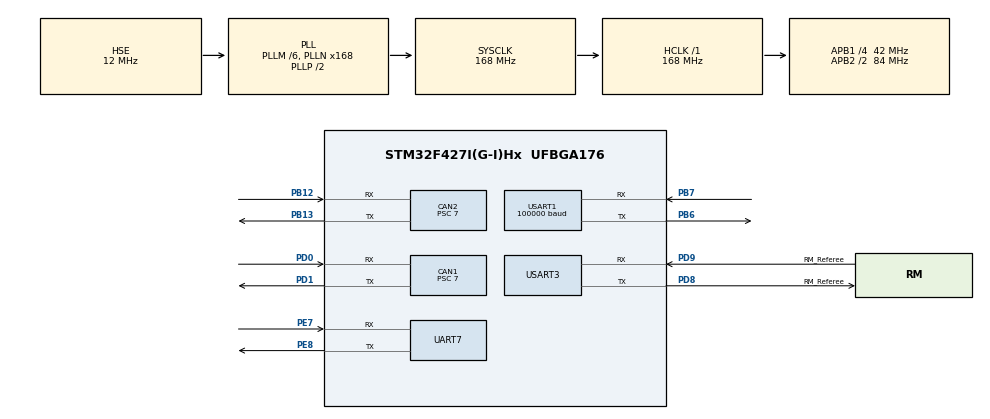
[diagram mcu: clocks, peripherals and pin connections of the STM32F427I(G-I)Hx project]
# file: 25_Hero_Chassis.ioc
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CAN1.ABOM=ENABLE
CAN1.AWUM=ENABLE
CAN1.BS1=CAN_BS1_3TQ
CAN1.BS2=CAN_BS2_2TQ
CAN1.CalculateBaudRate=999999
CAN1.CalculateTimeBit=1000
CAN1.CalculateTimeQuantum=166.66666666666669
CAN1.NART=ENABLE
CAN1.Prescaler=7
CAN2.ABOM=ENABLE
CAN2.AWUM=ENABLE
CAN2.BS1=CAN_BS1_3TQ
CAN2.BS2=CAN_BS2_2TQ
CAN2.CalculateBaudRate=999999
CAN2.CalculateTimeBit=1000
CAN2.CalculateTimeQuantum=166.66666666666669
CAN2.NART=ENABLE
CAN2.Prescaler=7
Dma.Request0=USART1_RX
Dma.Request1=USART3_RX
Dma.Request2=USART3_TX
Dma.USART1_RX.0.Direction=DMA_PERIPH_TO_MEMORY
Dma.USART1_RX.0.FIFOMode=DMA_FIFOMODE_DISABLE
Dma.USART1_RX.0.Instance=DMA2_Stream2
Dma.USART1_RX.0.MemDataAlignment=DMA_MDATAALIGN_BYTE
Dma.USART1_RX.0.MemInc=DMA_MINC_ENABLE
Dma.USART1_RX.0.Mode=DMA_CIRCULAR
Dma.USART1_RX.0.PeriphDataAlignment=DMA_PDATAALIGN_BYTE
Dma.USART1_RX.0.PeriphInc=DMA_PINC_DISABLE
Dma.USART1_RX.0.Priority=DMA_PRIORITY_VERY_HIGH
Dma.USART3_RX.1.Direction=DMA_PERIPH_TO_MEMORY
Dma.USART3_RX.1.FIFOMode=DMA_FIFOMODE_DISABLE
Dma.USART3_RX.1.Instance=DMA1_Stream1
Dma.USART3_RX.1.MemDataAlignment=DMA_MDATAALIGN_BYTE
Dma.USART3_RX.1.MemInc=DMA_MINC_ENABLE
Dma.USART3_RX.1.Mode=DMA_CIRCULAR
Dma.USART3_RX.1.PeriphDataAlignment=DMA_PDATAALIGN_BYTE
Dma.USART3_RX.1.PeriphInc=DMA_PINC_DISABLE
Dma.USART3_RX.1.Priority=DMA_PRIORITY_LOW
Dma.USART3_TX.2.Direction=DMA_MEMORY_TO_PERIPH
Dma.USART3_TX.2.FIFOMode=DMA_FIFOMODE_DISABLE
Dma.USART3_TX.2.Instance=DMA1_Stream3
Dma.USART3_TX.2.MemDataAlignment=DMA_MDATAALIGN_BYTE
Dma.USART3_TX.2.MemInc=DMA_MINC_ENABLE
Dma.USART3_TX.2.Mode=DMA_NORMAL
Dma.USART3_TX.2.PeriphDataAlignment=DMA_PDATAALIGN_BYTE
Dma.USART3_TX.2.PeriphInc=DMA_PINC_DISABLE
Dma.USART3_TX.2.Priority=DMA_PRIORITY_VERY_HIGH
FREERTOS.INCLUDE_vTaskDelayUntil=1
FREERTOS.Queues01=CAN1_Receive,64,Can_Export_Data_t,0,Dynamic,NULL,NULL;CAN2_Receive,64,Can_Export_Data_t,0,Dynamic,NULL,NULL
FREERTOS.Tasks01=All_Init,0,128,All_Init_Run,Default,NULL,Dynamic,NULL,NULL;CAN1_Task,2,256,CAN1_REC,As external,NULL,Dynamic,NULL,NULL;CAN2_Task,2,256,CAN2_REC,As external,NULL,Dynamic,NULL,NULL;CAN_Send_Task,2,256,CAN_Send,As external,NULL,Dynamic,NULL,NULL;Check_Task,1,256,DEV_Check,As external,NULL,Dynamic,NULL,NULL;Robot_Ctrl_Task,3,512,Robot_Control,As external,NULL,Dynamic,NULL,NULL
FREERTOS.configTOTAL_HEAP_SIZE=23456
Mcu.Family=STM32F4
Mcu.Name=STM32F427I(G-I)Hx
Mcu.Package=UFBGA176
NVIC.CAN1_RX0_IRQn=true\:5\:0\:false\:false\:true\:true\:true\:true\:true
NVIC.CAN2_RX0_IRQn=true\:5\:0\:false\:false\:true\:true\:true\:true\:true
NVIC.DMA1_Stream1_IRQn=true\:5\:0\:false\:false\:true\:true\:false\:true\:true
NVIC.DMA1_Stream3_IRQn=true\:5\:0\:false\:false\:true\:true\:false\:true\:true
NVIC.DMA2_Stream2_IRQn=true\:5\:0\:false\:false\:true\:true\:false\:true\:true
NVIC.PriorityGroup=NVIC_PRIORITYGROUP_4
NVIC.TIM6_DAC_IRQn=true\:15\:0\:false\:false\:true\:false\:false\:true\:true
NVIC.TimeBase=TIM6_DAC_IRQn
NVIC.TimeBaseIP=TIM6
NVIC.USART1_IRQn=true\:5\:0\:false\:false\:true\:true\:true\:true\:true
NVIC.USART3_IRQn=true\:5\:0\:false\:false\:true\:true\:true\:true\:true
PA13.Mode=Serial_Wire
PA13.Signal=SYS_JTMS-SWDIO
PA14.Mode=Serial_Wire
PA14.Signal=SYS_JTCK-SWCLK
PB12.Mode=CAN_Activate
PB12.Signal=CAN2_RX
PB13.Mode=CAN_Activate
PB13.Signal=CAN2_TX
PB6.Mode=Asynchronous
PB6.Signal=USART1_TX
PB7.Mode=Asynchronous
PB7.Signal=USART1_RX
PD0.Mode=CAN_Activate
PD0.Signal=CAN1_RX
PD1.Mode=CAN_Activate
PD1.Signal=CAN1_TX
PD8.GPIO_Label=RM_Referee
PD8.Mode=Asynchronous
PD8.Signal=USART3_TX
PD9.GPIO_Label=RM_Referee
PD9.Mode=Asynchronous
PD9.Signal=USART3_RX
PE7.Mode=Asynchronous
PE7.Signal=UART7_RX
PE8.Mode=Asynchronous
PE8.Signal=UART7_TX
PH0/OSC_IN.Mode=HSE-External-Oscillator
PH0/OSC_IN.Signal=RCC_OSC_IN
PH1/OSC_OUT.Mode=HSE-External-Oscillator
PH1/OSC_OUT.Signal=RCC_OSC_OUT
ProjectManager.HeapSize=0x2000
ProjectManager.StackSize=0x2000
ProjectManager.TargetToolchain=MDK-ARM V5.32
RCC.48MHZClocksFreq_Value=84000000
RCC.AHBFreq_Value=168000000
RCC.APB1CLKDivider=RCC_HCLK_DIV4
RCC.APB1Freq_Value=42000000
RCC.APB1TimFreq_Value=84000000
RCC.APB2CLKDivider=RCC_HCLK_DIV2
RCC.APB2Freq_Value=84000000
RCC.APB2TimFreq_Value=168000000
RCC.CortexFreq_Value=168000000
RCC.HCLKFreq_Value=168000000
RCC.HSE_VALUE=12000000
RCC.HSI_VALUE=16000000
RCC.LSE_VALUE=32768
RCC.PLLM=6
RCC.PLLN=168
RCC.PLLSourceVirtual=RCC_PLLSOURCE_HSE
RCC.SYSCLKFreq_VALUE=168000000
RCC.SYSCLKSource=RCC_SYSCLKSOURCE_PLLCLK
RCC.VCOOutputFreq_Value=336000000
UART7.VirtualMode=Asynchronous
USART1.BaudRate=100000
USART1.Parity=PARITY_EVEN
USART1.VirtualMode=VM_ASYNC
USART1.WordLength=WORDLENGTH_9B
USART3.VirtualMode=VM_ASYNC
VP_FREERTOS_VS_CMSIS_V1.Mode=CMSIS_V1
VP_SYS_VS_tim6.Mode=TIM6
board=custom

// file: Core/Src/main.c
/* USER CODE BEGIN Header */
/**
  ******************************************************************************
  * @file           : main.c
  * @brief          : Main program body
  ******************************************************************************
  * @attention
  *
  * Copyright (c) 2024 STMicroelectronics.
  * All rights reserved.
  *
  * This software is licensed under terms that can be found in the LICENSE file
  * in the root directory of this software component.
  * If no LICENSE file comes with this software, it is provided AS-IS.
  *
  ******************************************************************************
  */
/* USER CODE END Header */
#include "main.h"
#include "cmsis_os.h"
#include "can.h"
#include "dma.h"
#include "usart.h"
#include "gpio.h"

void SystemClock_Config(void);
void MX_FREERTOS_Init(void);

int main(void)
{

  /* MCU Configuration--------------------------------------------------------*/

  /* Reset of all peripherals, Initializes the Flash interface and the Systick. */
  HAL_Init();

  /* Configure the system clock */
  SystemClock_Config();

  /* Initialize all configured peripherals */
  MX_GPIO_Init();
  MX_DMA_Init();
  MX_CAN1_Init();
  MX_CAN2_Init();
  MX_UART7_Init();
  MX_USART1_UART_Init();
  MX_USART3_UART_Init();

  /* Call init function for freertos objects (in freertos.c) */
  MX_FREERTOS_Init();

  /* Start scheduler */
  osKernelStart();
  /* We should never get here as control is now taken by the scheduler */
  /* Infinite loop */
  while (1)
  {

  }
}

void SystemClock_Config(void)
{
  RCC_OscInitTypeDef RCC_OscInitStruct = {0};
  RCC_ClkInitTypeDef RCC_ClkInitStruct = {0};

  /** Configure the main internal regulator output voltage
  */
  __HAL_RCC_PWR_CLK_ENABLE();
  __HAL_PWR_VOLTAGESCALING_CONFIG(PWR_REGULATOR_VOLTAGE_SCALE1);

  /** Initializes the RCC Oscillators according to the specified parameters
  * in the RCC_OscInitTypeDef structure.
  */
  RCC_OscInitStruct.OscillatorType = RCC_OSCILLATORTYPE_HSE;
  RCC_OscInitStruct.HSEState = RCC_HSE_ON;
  RCC_OscInitStruct.PLL.PLLState = RCC_PLL_ON;
  RCC_OscInitStruct.PLL.PLLSource = RCC_PLLSOURCE_HSE;
  RCC_OscInitStruct.PLL.PLLM = 6;
  RCC_OscInitStruct.PLL.PLLN = 168;
  RCC_OscInitStruct.PLL.PLLP = RCC_PLLP_DIV2;
  RCC_OscInitStruct.PLL.PLLQ = 4;
  if (HAL_RCC_OscConfig(&RCC_OscInitStruct) != HAL_OK)
  {
    Error_Handler();
  }

  /** Initializes the CPU, AHB and APB buses clocks
  */
  RCC_ClkInitStruct.ClockType = RCC_CLOCKTYPE_HCLK|RCC_CLOCKTYPE_SYSCLK
                              |RCC_CLOCKTYPE_PCLK1|RCC_CLOCKTYPE_PCLK2;
  RCC_ClkInitStruct.SYSCLKSource = RCC_SYSCLKSOURCE_PLLCLK;
  RCC_ClkInitStruct.AHBCLKDivider = RCC_SYSCLK_DIV1;
  RCC_ClkInitStruct.APB1CLKDivider = RCC_HCLK_DIV4;
  RCC_ClkInitStruct.APB2CLKDivider = RCC_HCLK_DIV2;

  if (HAL_RCC_ClockConfig(&RCC_ClkInitStruct, FLASH_LATENCY_5) != HAL_OK)
  {
    Error_Handler();
  }
}

void HAL_TIM_PeriodElapsedCallback(TIM_HandleTypeDef *htim)
{
  if (htim->Instance == TIM6) {
    HAL_IncTick();
  }
}

void Error_Handler(void)
{
  __disable_irq();
  while (1)
  {
  }
}

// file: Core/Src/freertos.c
/* USER CODE BEGIN Header */
/**
  ******************************************************************************
  * File Name          : freertos.c
  * Description        : Code for freertos applications
  ******************************************************************************
  * @attention
  *
  * Copyright (c) 2024 STMicroelectronics.
  * All rights reserved.
  *
  * This software is licensed under terms that can be found in the LICENSE file
  * in the root directory of this software component.
  * If no LICENSE file comes with this software, it is provided AS-IS.
  *
  ******************************************************************************
  */
/* USER CODE END Header */

#include "FreeRTOS.h"
#include "task.h"
#include "main.h"
#include "cmsis_os.h"

/* USER CODE BEGIN Includes */
#include "bsp_can.h"
#include "dr16.h"
#include "pid.h"
#include "SupCap.h"
#include "bsp_usart.h"
#include "RM_JudgeSystem.h"
#include "chassis_control.h"
#include "DM4310_motor.h"

/* USER CODE END Includes */

osThreadId All_InitHandle;
osThreadId CAN1_TaskHandle;
osThreadId CAN2_TaskHandle;
osThreadId CAN_Send_TaskHandle;
osThreadId Check_TaskHandle;
osThreadId Robot_Ctrl_TaskHandle;
osMessageQId CAN1_ReceiveHandle;
osMessageQId CAN2_ReceiveHandle;

/* USER CODE BEGIN FunctionPrototypes */
void JuageUsart_Init(void);
/* USER CODE END FunctionPrototypes */

void All_Init_Run(void const * argument);
extern void CAN1_REC(void const * argument);
extern void CAN2_REC(void const * argument);
extern void CAN_Send(void const * argument);
extern void DEV_Check(void const * argument);
extern void Robot_Control(void const * argument);

void MX_FREERTOS_Init(void); /* (MISRA C 2004 rule 8.1) */

/* GetIdleTaskMemory prototype (linked to static allocation support) */
void vApplicationGetIdleTaskMemory( StaticTask_t **ppxIdleTaskTCBBuffer, StackType_t **ppxIdleTaskStackBuffer, uint32_t *pulIdleTaskStackSize );

/* USER CODE BEGIN GET_IDLE_TASK_MEMORY */
static StaticTask_t xIdleTaskTCBBuffer;
static StackType_t xIdleStack[configMINIMAL_STACK_SIZE];

void vApplicationGetIdleTaskMemory( StaticTask_t **ppxIdleTaskTCBBuffer, StackType_t **ppxIdleTaskStackBuffer, uint32_t *pulIdleTaskStackSize )
{
  *ppxIdleTaskTCBBuffer = &xIdleTaskTCBBuffer;
  *ppxIdleTaskStackBuffer = &xIdleStack[0];
  *pulIdleTaskStackSize = configMINIMAL_STACK_SIZE;
  /* place for user code */
}
/* USER CODE END GET_IDLE_TASK_MEMORY */

void MX_FREERTOS_Init(void) {

  /* Create the queue(s) */
  /* definition and creation of CAN1_Receive */
  osMessageQDef(CAN1_Receive, 64, Can_Export_Data_t);
  CAN1_ReceiveHandle = osMessageCreate(osMessageQ(CAN1_Receive), NULL);

  /* definition and creation of CAN2_Receive */
  osMessageQDef(CAN2_Receive, 64, Can_Export_Data_t);
  CAN2_ReceiveHandle = osMessageCreate(osMessageQ(CAN2_Receive), NULL);

  /* Create the thread(s) */
  /* definition and creation of All_Init */
  osThreadDef(All_Init, All_Init_Run, osPriorityNormal, 0, 128);
  All_InitHandle = osThreadCreate(osThread(All_Init), NULL);

  /* definition and creation of CAN1_Task */
  osThreadDef(CAN1_Task, CAN1_REC, osPriorityHigh, 0, 256);
  CAN1_TaskHandle = osThreadCreate(osThread(CAN1_Task), NULL);

  /* definition and creation of CAN2_Task */
  osThreadDef(CAN2_Task, CAN2_REC, osPriorityHigh, 0, 256);
  CAN2_TaskHandle = osThreadCreate(osThread(CAN2_Task), NULL);

  /* definition and creation of CAN_Send_Task */
  osThreadDef(CAN_Send_Task, CAN_Send, osPriorityHigh, 0, 256);
  CAN_Send_TaskHandle = osThreadCreate(osThread(CAN_Send_Task), NULL);

  /* definition and creation of Check_Task */
  osThreadDef(Check_Task, DEV_Check, osPriorityAboveNormal, 0, 256);
  Check_TaskHandle = osThreadCreate(osThread(Check_Task), NULL);

  /* definition and creation of Robot_Ctrl_Task */
  osThreadDef(Robot_Ctrl_Task, Robot_Control, osPriorityRealtime, 0, 512);
  Robot_Ctrl_TaskHandle = osThreadCreate(osThread(Robot_Ctrl_Task), NULL);

}

void All_Init_Run(void const * argument)
{
  /* USER CODE BEGIN All_Init_Run */
  /* Infinite loop */
  for(;;)
  {
		taskENTER_CRITICAL();  //进入临界区

		bsp_can_init(); 		//can初始化
		dbus_uart_init();   //dbus初始化
		JuageUsart_Init();  //裁判系统串口初始化
		motor_pid_init();   //电机pid参数初始赋值
		Chassis_Init();     //电机初始角度初始化
		motor_enable();
		SupCap.FUN.Init();  //超电初始化

		taskEXIT_CRITICAL();   //退出临界区
		vTaskDelete(NULL);
  }
  /* USER CODE END All_Init_Run */
}

/* USER CODE BEGIN Application */
void JuageUsart_Init(void)
{
	__HAL_UART_CLEAR_IDLEFLAG(&huart3);
	__HAL_UART_ENABLE(&huart3);
	__HAL_UART_ENABLE_IT(&huart3,UART_IT_IDLE);
	USART_Receive_DMA_NO_IT(&huart3,JudgeSystem_rxBuff,JUDGESYSTEM_PACKSIZE);
}
/* USER CODE END Application */
